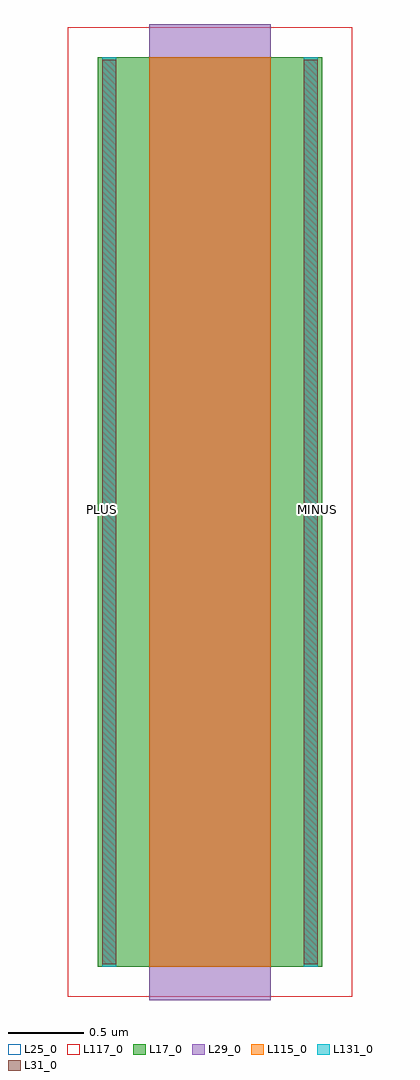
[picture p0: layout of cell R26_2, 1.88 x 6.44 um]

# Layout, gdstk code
import gdstk
lib = gdstk.Library(unit=1e-6, precision=1e-09)
def R(c, l, rs):  # rectangles x0, y0, x1, y1
    for r in rs: c.add(gdstk.rectangle(r[:2], r[2:], *l))
L17_0 = (17, 0)
L25_0 = (25, 0)
L29_0 = (29, 0)
L31_0 = (31, 0)
L115_0 = (115, 0)
L117_0 = (117, 0)
L131_0 = (131, 0)

r26_2 = lib.new_cell('R26_2')
R(r26_2, L17_0, [(0.2,0.22,1.68,6.22)])
R(r26_2, L25_0, [(0,0.02,1.88,6.42)])
R(r26_2, L29_0, [(0.54,0,1.34,6.44)])
R(r26_2, L31_0, [(0.23,0.235,0.32,6.205), (1.56,0.235,1.65,6.205)])
R(r26_2, L115_0, [(0.54,0.22,1.34,6.22)])
R(r26_2, L117_0, [(0,0.02,1.88,6.42)])
R(r26_2, L131_0, [(0.23,0.22,0.32,6.22), (1.56,0.22,1.65,6.22)])
r26_2.add(gdstk.Label('PLUS', (0.23,3.235), layer=131, texttype=0))
r26_2.add(gdstk.Label('MINUS', (1.65,3.235), layer=131, texttype=0))

lib.write_gds('R26_2.gds')
